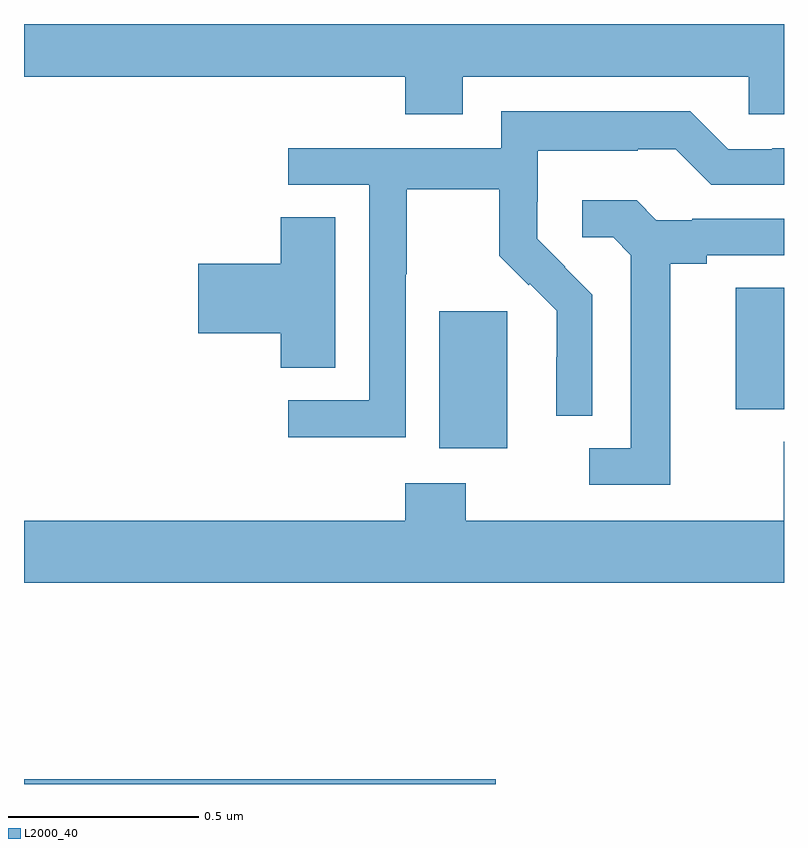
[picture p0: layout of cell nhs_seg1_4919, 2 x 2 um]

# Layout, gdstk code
import gdstk
lib = gdstk.Library(unit=1e-6, precision=1e-09)
def R(c, l, rs):  # rectangles x0, y0, x1, y1
    for r in rs: c.add(gdstk.rectangle(r[:2], r[2:], *l))
def P(c, l, *ps):  # polygons
    for p in ps: c.add(gdstk.Polygon(p, *l))
L2000_40 = (2000, 40)

nhs_seg1_4919 = lib.new_cell('nhs_seg1_4919')
R(nhs_seg1_4919, L2000_40, [(172,555.199,173.242,555.212), (173.093,556.082,173.272,556.443), (173.873,556.185,174,556.505)])
P(nhs_seg1_4919, L2000_40, [(173.155,557.06),(173.907,557.06),(173.907,556.962),(174,556.962),(174,557.199),(172,557.199),(172,557.06),(173.003,557.06),(173.003,556.961),(173.155,556.961)],
  [(173.004,556.54),(173.007,556.54),(173.007,556.764),(173.251,556.764),(173.251,556.589),(173.328,556.512),(173.331,556.515),(173.402,556.445),(173.402,556.322),(173.4,556.322),(173.4,556.168),(173.496,556.168),(173.496,556.486),(173.423,556.559),(173.424,556.56),(173.35,556.634),(173.35,556.731),(173.352,556.731),(173.352,556.865),(173.615,556.865),(173.615,556.869),(173.715,556.869),(173.808,556.776),(174,556.776),(174,556.872),(173.969,556.872),(173.969,556.869),(173.853,556.869),(173.753,556.969),(173.256,556.969),(173.256,556.872),(172.695,556.872),(172.695,556.776),(172.908,556.776),(172.908,556.209),(172.695,556.209),(172.695,556.111),(173.004,556.111)],
  [(173.701,556.568),(173.797,556.568),(173.797,556.59),(174,556.59),(174,556.686),(173.758,556.686),(173.758,556.683),(173.664,556.683),(173.612,556.735),(173.469,556.735),(173.469,556.638),(173.55,556.638),(173.597,556.591),(173.597,556.083),(173.487,556.083),(173.487,555.987),(173.701,555.987)],
  [(172.819,556.691),(172.676,556.691),(172.676,556.568),(172.458,556.568),(172.458,556.385),(172.676,556.385),(172.676,556.294),(172.819,556.294)],
  [(174,556.1),(173.999,556.1),(173.999,555.892),(173.163,555.892),(173.163,555.991),(173.003,555.991),(173.003,555.892),(172,555.892),(172,555.728),(174,555.728)])

lib.write_gds('nhs_seg1_4919.gds')
